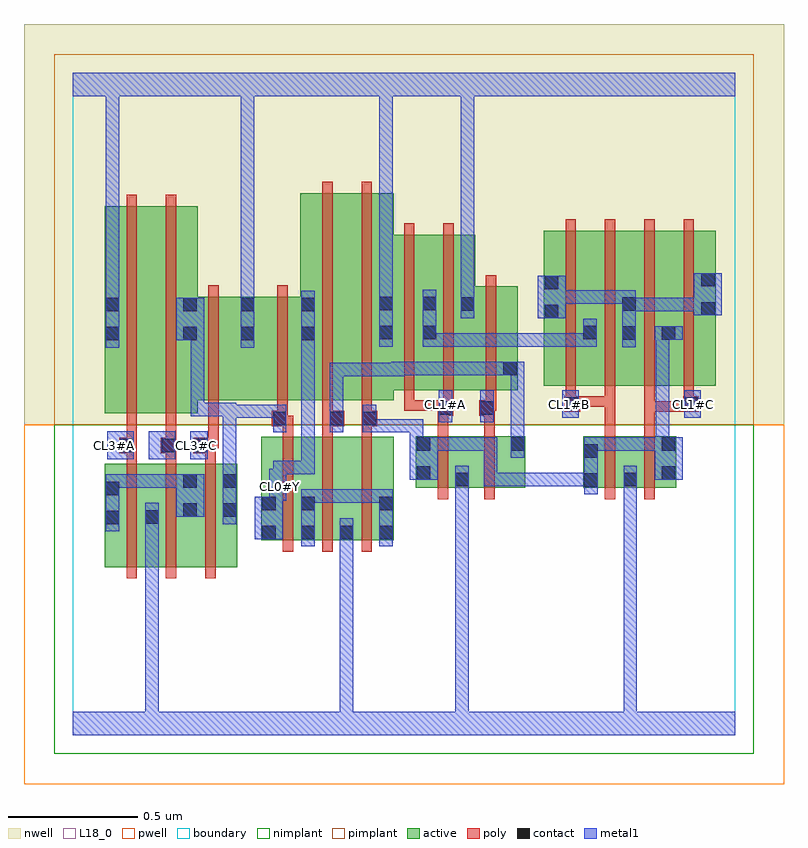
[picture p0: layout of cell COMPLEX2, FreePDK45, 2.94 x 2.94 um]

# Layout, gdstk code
import gdstk
lib = gdstk.Library(unit=1e-6, precision=1e-09)
def R(c, l, rs):  # rectangles x0, y0, x1, y1
    for r in rs: c.add(gdstk.rectangle(r[:2], r[2:], *l))
def A(c, l, x, y, w, h, nx, ny, dx, dy):  # array of equal rectangles
    R(c, l, [(x+i*dx, y+j*dy, x+i*dx+w, y+j*dy+h) for i in range(nx) for j in range(ny)])
active = (1, 0)
pwell = (2, 0)
nwell = (3, 0)
nimplant = (4, 0)
pimplant = (5, 0)
poly = (9, 0)
contact = (10, 0)
metal1 = (11, 0)
L18_0 = (18, 0)
boundary = (235, 0)

complex2 = lib.new_cell('COMPLEX2')
A(complex2, active, 1.968, 1.35, 0.212, 0.6, 3, 1, 0.152, 0)
R(complex2, active, [(0.124,0.65,0.336,1.05), (0.276,0.65,0.484,1.05), (0.424,0.65,0.636,1.05), (0.728,0.754,0.788,1.154), (0.728,0.754,0.94,1.154), (0.88,0.754,1.088,1.154), (0.88,0.754,0.94,1.1), (1.028,0.754,1.24,1.154), (1.028,0.754,1.088,0.828), (1.18,0.754,1.24,1.154), (0.124,0.756,0.184,1.05), (0.276,0.756,0.336,1.05), (0.424,0.756,0.484,1.05), (0.576,0.756,0.636,1.05), (1.326,0.956,1.386,1.156), (1.326,0.956,1.534,1.156), (1.474,0.956,1.748,1.156), (1.474,0.956,1.534,1.018), (1.688,0.956,1.748,1.156), (1.972,0.956,2.032,1.156), (1.972,0.956,2.184,1.156), (2.124,0.956,2.184,1.156), (2.124,0.956,2.332,1.156), (2.272,0.956,2.332,1.156), (0.124,1.244,0.304,2.044), (0.124,1.244,0.184,2.044), (0.304,1.244,0.484,2.044), (0.424,1.294,0.706,1.694), (0.646,1.294,0.94,1.694), (0.88,1.294,1.06,2.094), (1.06,1.294,1.24,2.094), (1.18,1.334,1.408,1.934), (1.18,1.334,1.24,1.9), (1.348,1.334,1.556,1.934), (1.496,1.334,1.72,1.734), (1.66,1.334,1.72,1.644), (1.82,1.35,2.028,1.95), (1.968,1.35,2.028,1.844), (2.12,1.35,2.18,1.95), (2.424,1.35,2.484,1.95), (0.424,1.388,0.484,1.9), (0.88,1.388,0.94,2.094), (1.496,1.388,1.556,1.696), (0.646,1.522,0.706,1.694), (2.272,1.524,2.332,1.844), (1.348,1.526,1.408,1.934), (1.82,1.608,1.88,1.95)])
R(complex2, pwell, [(-0.188,-0.188,2.748,1.2)])
R(complex2, nwell, [(-0.188,1.2,2.748,2.748)])
R(complex2, nimplant, [(-0.072,-0.072,2.632,1.2)])
R(complex2, pimplant, [(-0.072,1.2,2.632,2.632)])
A(complex2, poly, 0.208, 0.606, 0.04, 0.488, 3, 1, 0.152, 0)
A(complex2, poly, 0.812, 0.71, 0.04, 0.488, 3, 1, 0.152, 0)
A(complex2, poly, 0.208, 1.054, 0.04, 0.076, 3, 1, 0.152, 0)
A(complex2, poly, 0.812, 1.158, 0.04, 0.076, 3, 1, 0.152, 0)
A(complex2, poly, 1.904, 1.306, 0.04, 0.688, 4, 1, 0.152, 0)
R(complex2, poly, [(1.41,0.912,1.45,1.2), (1.59,0.912,1.63,1.2), (2.056,0.912,2.096,1.2), (2.208,0.912,2.248,1.2), (0.18,1.09,0.248,1.15), (0.208,1.09,0.248,1.13), (0.208,1.09,0.248,1.13), (0.34,1.09,0.4,1.15), (0.36,1.09,0.4,1.13), (0.36,1.09,0.4,1.13), (0.466,1.09,0.552,1.15), (0.208,1.11,0.248,1.24), (0.36,1.11,0.4,1.24), (0.512,1.11,0.552,1.15), (0.512,1.11,0.564,1.15), (0.524,1.11,0.564,1.29), (1.41,1.16,1.45,1.274), (1.59,1.16,1.63,1.274), (2.056,1.16,2.096,1.31), (2.208,1.16,2.248,1.29), (0.77,1.194,0.83,1.254), (0.79,1.194,0.83,1.234), (0.79,1.194,0.852,1.234), (0.964,1.194,1.004,1.234), (0.964,1.194,1.004,1.234), (0.964,1.194,1.05,1.254), (1.116,1.194,1.176,1.254), (0.208,1.2,0.248,2.088), (0.36,1.2,0.4,2.088), (0.79,1.214,0.83,1.29), (0.964,1.214,1.004,1.29), (1.116,1.214,1.156,1.29), (1.116,1.214,1.156,1.254), (1.116,1.214,1.156,1.254), (1.41,1.234,1.47,1.294), (1.57,1.234,1.63,1.294), (0.524,1.25,0.564,1.738), (0.79,1.25,0.83,1.738), (0.964,1.25,1.004,2.138), (1.116,1.25,1.156,2.138), (1.9,1.25,1.96,1.31), (2.208,1.25,2.248,1.29), (2.208,1.25,2.248,1.29), (2.208,1.25,2.248,1.29), (2.208,1.25,2.398,1.29), (2.208,1.25,2.248,1.346), (2.358,1.25,2.398,1.29), (2.358,1.25,2.398,1.29), (2.358,1.25,2.418,1.31), (1.28,1.254,1.32,1.33), (1.28,1.254,1.32,1.294), (1.28,1.254,1.32,1.294), (1.28,1.254,1.32,1.294), (1.28,1.254,1.47,1.294), (1.43,1.254,1.47,1.294), (1.43,1.254,1.472,1.294), (1.432,1.254,1.472,1.33), (1.59,1.254,1.63,1.294), (1.59,1.254,1.636,1.294), (1.596,1.254,1.636,1.33), (1.904,1.27,1.944,1.346), (1.92,1.27,2.096,1.31), (2.056,1.27,2.096,1.346), (2.056,1.27,2.096,1.31), (2.056,1.27,2.096,1.31), (2.056,1.27,2.096,1.31), (2.056,1.27,2.096,1.31), (2.056,1.27,2.096,1.31), (2.36,1.27,2.4,1.346), (1.28,1.29,1.32,1.978), (1.432,1.29,1.472,1.978), (1.596,1.29,1.636,1.778)])
R(complex2, contact, [(0.732,0.758,0.784,0.81), (0.884,0.758,0.936,0.81), (1.032,0.758,1.084,0.81), (1.184,0.758,1.236,0.81), (0.128,0.816,0.18,0.868), (0.28,0.818,0.332,0.87), (0.428,0.844,0.48,0.896), (0.58,0.844,0.632,0.896), (0.732,0.87,0.784,0.922), (0.884,0.87,0.936,0.922), (1.184,0.87,1.236,0.922), (0.128,0.928,0.18,0.98), (0.428,0.956,0.48,1.008), (0.58,0.956,0.632,1.008), (1.976,0.96,2.028,1.012), (1.478,0.962,1.53,1.014), (2.128,0.962,2.18,1.014), (1.33,0.988,1.382,1.04), (2.276,0.988,2.328,1.04), (1.976,1.072,2.028,1.124), (0.184,1.094,0.236,1.146), (0.344,1.094,0.396,1.146), (0.47,1.094,0.522,1.146), (1.33,1.1,1.382,1.152), (1.692,1.1,1.744,1.152), (2.276,1.1,2.328,1.152), (0.774,1.198,0.826,1.25), (0.994,1.198,1.046,1.25), (1.12,1.198,1.172,1.25), (1.414,1.238,1.466,1.29), (1.574,1.238,1.626,1.29), (1.904,1.254,1.956,1.306), (2.362,1.254,2.414,1.306), (1.664,1.392,1.716,1.444), (0.128,1.526,0.18,1.578), (0.428,1.526,0.48,1.578), (0.65,1.526,0.702,1.578), (0.884,1.526,0.936,1.578), (2.124,1.528,2.176,1.58), (2.276,1.528,2.328,1.58), (1.184,1.53,1.236,1.582), (1.352,1.53,1.404,1.582), (1.972,1.53,2.024,1.582), (1.824,1.612,1.876,1.664), (2.428,1.622,2.48,1.674), (0.128,1.638,0.18,1.69), (0.428,1.638,0.48,1.69), (0.65,1.638,0.702,1.69), (0.884,1.638,0.936,1.69), (1.5,1.64,1.552,1.692), (2.124,1.64,2.176,1.692), (1.184,1.642,1.236,1.694), (1.352,1.642,1.404,1.694), (1.824,1.724,1.876,1.776), (2.428,1.734,2.48,1.786)])
R(complex2, metal1, [(0,0,2.56,0.092), (0.28,0.04,0.332,0.092), (0.28,0.04,0.332,0.092), (0.28,0.04,0.332,0.092), (0.28,0.04,0.332,0.092), (0.28,0.04,0.332,0.092), (0.28,0.04,0.332,0.092), (0.28,0.04,0.332,0.092), (0.28,0.04,0.332,0.092), (0.28,0.04,0.332,0.202), (1.032,0.04,1.084,0.092), (1.032,0.04,1.084,0.092), (1.032,0.04,1.084,0.092), (1.032,0.04,1.084,0.092), (1.032,0.04,1.084,0.092), (1.032,0.04,1.084,0.092), (1.032,0.04,1.084,0.202), (1.478,0.04,1.53,0.092), (1.478,0.04,1.53,0.092), (1.478,0.04,1.53,0.092), (1.478,0.04,1.53,0.092), (1.478,0.04,1.53,0.092), (1.478,0.04,1.53,0.092), (1.478,0.04,1.53,0.092), (1.478,0.04,1.53,0.092), (1.478,0.04,1.53,0.092), (1.478,0.04,1.53,0.092), (1.478,0.04,1.53,0.092), (1.478,0.04,1.53,0.092), (1.478,0.04,1.53,0.092), (1.478,0.04,1.53,0.092), (1.478,0.04,1.53,0.202), (2.128,0.04,2.18,0.092), (2.128,0.04,2.18,0.092), (2.128,0.04,2.18,0.092), (2.128,0.04,2.18,0.092), (2.128,0.04,2.18,0.092), (2.128,0.04,2.18,0.092), (2.128,0.04,2.18,0.092), (2.128,0.04,2.18,0.092), (2.128,0.04,2.18,0.092), (2.128,0.04,2.18,0.092), (2.128,0.04,2.18,0.986), (0.28,0.15,0.332,0.202), (0.28,0.15,0.332,0.202), (0.28,0.15,0.332,0.202), (0.28,0.15,0.332,0.842), (1.032,0.15,1.084,0.202), (1.032,0.15,1.084,0.202), (1.032,0.15,1.084,0.202), (1.032,0.15,1.084,0.782), (1.478,0.15,1.53,0.202), (1.478,0.15,1.53,0.986), (0.884,0.73,0.936,0.95), (1.032,0.73,1.084,0.782), (1.032,0.73,1.084,0.782), (1.032,0.73,1.084,0.838), (1.184,0.73,1.236,0.95), (0.704,0.758,0.812,0.922), (0.128,0.788,0.18,1.008), (0.28,0.79,0.332,0.898), (0.58,0.816,0.632,1.036), (0.4,0.844,0.508,1.008), (0.76,0.87,0.812,0.958), (0.884,0.898,1.046,0.95), (0.994,0.898,1.046,0.95), (0.994,0.898,1.046,0.95), (0.994,0.898,1.046,0.95), (0.994,0.898,1.172,0.95), (1.12,0.898,1.172,0.95), (1.12,0.898,1.236,0.95), (0.76,0.906,0.826,1.03), (1.976,0.932,2.028,1.152), (1.478,0.934,1.53,1.042), (2.128,0.934,2.18,0.986), (2.128,0.934,2.18,0.986), (2.128,0.934,2.18,0.986), (2.128,0.934,2.18,0.986), (2.128,0.934,2.18,0.986), (2.128,0.934,2.18,0.986), (2.128,0.934,2.18,1.042), (0.128,0.956,0.18,1.008), (0.128,0.956,0.18,1.008), (0.128,0.956,0.29,1.008), (0.238,0.956,0.29,1.008), (0.238,0.956,0.29,1.008), (0.238,0.956,0.29,1.008), (0.238,0.956,0.452,1.008), (1.588,0.962,1.64,1.014), (1.588,0.962,1.64,1.014), (1.588,0.962,1.64,1.014), (1.588,0.962,1.914,1.014), (1.588,0.962,1.64,1.152), (1.862,0.962,1.914,1.014), (1.862,0.962,1.914,1.014), (1.862,0.962,1.914,1.014), (1.862,0.962,1.914,1.014), (1.862,0.962,1.914,1.014), (1.862,0.962,2.028,1.014), (0.774,0.978,0.826,1.03), (0.774,0.978,0.826,1.06), (0.58,0.984,0.632,1.278), (1.302,0.988,1.41,1.152), (2.248,0.988,2.356,1.152), (0.774,1.008,0.936,1.06), (0.884,1.008,0.936,1.06), (0.884,1.008,0.936,1.55), (0.134,1.066,0.236,1.174), (0.294,1.066,0.396,1.174), (0.454,1.066,0.522,1.174), (1.692,1.072,1.744,1.18), (1.302,1.1,1.354,1.222), (1.358,1.1,1.41,1.152), (1.358,1.1,1.41,1.152), (1.358,1.1,1.53,1.152), (1.478,1.1,1.53,1.152), (1.478,1.1,1.64,1.152), (1.588,1.1,1.64,1.152), (1.976,1.1,2.19,1.152), (2.138,1.1,2.19,1.152), (2.138,1.1,2.19,1.152), (2.138,1.1,2.19,1.152), (2.138,1.1,2.3,1.152), (2.248,1.1,2.3,1.152), (2.248,1.1,2.3,1.152), (2.252,1.1,2.304,1.58), (1.692,1.128,1.744,1.444), (0.774,1.17,0.826,1.278), (0.994,1.17,1.046,1.278), (1.12,1.17,1.172,1.222), (1.12,1.17,1.172,1.222), (1.12,1.17,1.282,1.222), (1.12,1.17,1.172,1.278), (1.23,1.17,1.282,1.222), (1.23,1.17,1.354,1.222), (1.302,1.17,1.354,1.222), (1.414,1.21,1.466,1.334), (1.574,1.21,1.626,1.334), (0.58,1.226,0.632,1.278), (0.58,1.226,0.632,1.278), (0.58,1.226,0.826,1.278), (0.58,1.226,0.632,1.284), (0.774,1.226,0.826,1.278), (0.774,1.226,0.826,1.278), (0.994,1.226,1.046,1.278), (0.994,1.226,1.046,1.44), (1.892,1.226,1.956,1.334), (2.362,1.226,2.426,1.334), (0.456,1.232,0.508,1.284), (0.456,1.232,0.632,1.284), (0.456,1.232,0.508,1.578), (0.58,1.232,0.632,1.284), (0.58,1.232,0.632,1.284), (0.994,1.388,1.156,1.44), (1.104,1.388,1.156,1.44), (1.104,1.388,1.156,1.44), (1.104,1.388,1.156,1.44), (1.104,1.388,1.282,1.44), (1.23,1.388,1.282,1.444), (1.23,1.392,1.41,1.444), (1.358,1.392,1.41,1.444), (1.358,1.392,1.41,1.444), (1.358,1.392,1.41,1.444), (1.358,1.392,1.52,1.444), (1.468,1.392,1.52,1.444), (1.468,1.392,1.738,1.444), (1.636,1.392,1.744,1.444), (1.686,1.392,1.738,1.444), (1.686,1.392,1.744,1.444), (1.692,1.392,1.744,1.444), (1.692,1.392,1.744,1.444), (1.692,1.392,1.744,1.444), (1.692,1.392,1.744,1.444), (0.128,1.498,0.18,1.718), (0.65,1.498,0.702,1.718), (0.884,1.498,0.936,1.55), (0.884,1.498,0.936,1.55), (0.884,1.498,0.936,1.718), (2.124,1.5,2.176,1.72), (1.184,1.502,1.236,1.722), (1.352,1.502,1.404,1.554), (1.352,1.502,1.404,1.554), (1.352,1.502,1.404,1.722), (1.352,1.502,1.52,1.554), (1.468,1.502,1.52,1.554), (1.468,1.502,1.52,1.554), (1.468,1.502,1.52,1.554), (1.468,1.502,1.738,1.554), (1.686,1.502,1.738,1.554), (1.686,1.502,1.738,1.554), (1.686,1.502,1.738,1.554), (1.686,1.502,1.914,1.554), (1.862,1.502,1.914,1.554), (1.862,1.502,1.914,1.554), (1.862,1.502,1.914,1.554), (1.862,1.502,1.914,1.554), (1.862,1.502,1.914,1.554), (1.862,1.502,2.024,1.554), (1.972,1.502,2.024,1.61), (0.4,1.526,0.508,1.69), (2.248,1.528,2.356,1.58), (2.252,1.528,2.304,1.58), (2.252,1.528,2.304,1.58), (2.252,1.528,2.304,1.58), (2.252,1.528,2.304,1.58), (1.5,1.612,1.552,1.72), (1.796,1.612,1.904,1.776), (2.4,1.622,2.508,1.786), (2.124,1.638,2.304,1.69), (2.252,1.638,2.304,1.69), (2.252,1.638,2.304,1.69), (2.252,1.638,2.304,1.69), (2.252,1.638,2.452,1.69), (2.4,1.638,2.452,1.69), (2.4,1.638,2.452,1.69), (0.128,1.666,0.18,2.52), (0.65,1.666,0.702,1.718), (0.65,1.666,0.702,1.718), (0.65,1.666,0.702,1.718), (0.65,1.666,0.702,1.718), (0.65,1.666,0.702,2.52), (1.5,1.668,1.552,2.52), (1.852,1.668,2.03,1.72), (1.978,1.668,2.03,1.72), (1.978,1.668,2.03,1.72), (1.978,1.668,2.03,1.72), (1.978,1.668,2.176,1.72), (2.124,1.668,2.176,1.72), (2.124,1.668,2.176,1.72), (1.184,1.67,1.236,2.52), (0,2.468,2.56,2.56), (0.128,2.468,0.18,2.52), (0.128,2.468,0.18,2.52), (0.128,2.468,0.18,2.52), (0.128,2.468,0.18,2.52), (0.128,2.468,0.18,2.52), (0.128,2.468,0.18,2.52), (0.128,2.468,0.18,2.52), (0.128,2.468,0.18,2.52), (0.65,2.468,0.702,2.52), (0.65,2.468,0.702,2.52), (0.65,2.468,0.702,2.52), (0.65,2.468,0.702,2.52), (0.65,2.468,0.702,2.52), (0.65,2.468,0.702,2.52), (0.65,2.468,0.702,2.52), (0.65,2.468,0.702,2.52), (0.65,2.468,0.702,2.52), (0.65,2.468,0.702,2.52), (0.65,2.468,0.702,2.52), (0.65,2.468,0.702,2.52), (1.184,2.468,1.236,2.52), (1.184,2.468,1.236,2.52), (1.184,2.468,1.236,2.52), (1.184,2.468,1.236,2.52), (1.184,2.468,1.236,2.52), (1.184,2.468,1.236,2.52), (1.184,2.468,1.236,2.52), (1.184,2.468,1.236,2.52), (1.5,2.468,1.552,2.52), (1.5,2.468,1.552,2.52), (1.5,2.468,1.552,2.52), (1.5,2.468,1.552,2.52), (1.5,2.468,1.552,2.52), (1.5,2.468,1.552,2.52), (1.5,2.468,1.552,2.52), (1.5,2.468,1.552,2.52), (1.5,2.468,1.552,2.52), (1.5,2.468,1.552,2.52), (1.5,2.468,1.552,2.52), (1.5,2.468,1.552,2.52)])
A(complex2, L18_0, 0.134, 1.094, 0.052, 0.052, 3, 1, 0.16, 0)
R(complex2, L18_0, [(0,0,2.56,0.092), (0.28,0.04,0.332,0.092), (0.28,0.04,0.332,0.092), (0.28,0.04,0.332,0.092), (0.28,0.04,0.332,0.092), (0.28,0.04,0.332,0.092), (0.28,0.04,0.332,0.092), (0.28,0.04,0.332,0.092), (0.28,0.04,0.332,0.092), (0.28,0.04,0.332,0.202), (1.032,0.04,1.084,0.092), (1.032,0.04,1.084,0.092), (1.032,0.04,1.084,0.092), (1.032,0.04,1.084,0.092), (1.032,0.04,1.084,0.092), (1.032,0.04,1.084,0.092), (1.032,0.04,1.084,0.202), (1.478,0.04,1.53,0.092), (1.478,0.04,1.53,0.092), (1.478,0.04,1.53,0.092), (1.478,0.04,1.53,0.092), (1.478,0.04,1.53,0.092), (1.478,0.04,1.53,0.092), (1.478,0.04,1.53,0.092), (1.478,0.04,1.53,0.092), (1.478,0.04,1.53,0.092), (1.478,0.04,1.53,0.092), (1.478,0.04,1.53,0.092), (1.478,0.04,1.53,0.092), (1.478,0.04,1.53,0.092), (1.478,0.04,1.53,0.092), (1.478,0.04,1.53,0.202), (2.128,0.04,2.18,0.092), (2.128,0.04,2.18,0.092), (2.128,0.04,2.18,0.092), (2.128,0.04,2.18,0.092), (2.128,0.04,2.18,0.092), (2.128,0.04,2.18,0.092), (2.128,0.04,2.18,0.092), (2.128,0.04,2.18,0.092), (2.128,0.04,2.18,0.092), (2.128,0.04,2.18,0.092), (2.128,0.04,2.18,0.986), (0.28,0.15,0.332,0.202), (0.28,0.15,0.332,0.202), (0.28,0.15,0.332,0.202), (0.28,0.15,0.332,0.842), (1.032,0.15,1.084,0.202), (1.032,0.15,1.084,0.202), (1.032,0.15,1.084,0.202), (1.032,0.15,1.084,0.782), (1.478,0.15,1.53,0.202), (1.478,0.15,1.53,0.986), (1.032,0.73,1.084,0.782), (1.032,0.73,1.084,0.782), (1.032,0.73,1.084,0.838), (0.704,0.758,0.812,0.922), (0.28,0.79,0.332,0.898), (0.76,0.87,0.812,0.958), (0.76,0.906,0.826,1.03), (0.774,0.934,0.826,0.986), (1.478,0.934,1.53,1.042), (2.128,0.934,2.18,0.986), (2.128,0.934,2.18,0.986), (2.128,0.934,2.18,0.986), (2.128,0.934,2.18,0.986), (2.128,0.934,2.18,0.986), (2.128,0.934,2.18,0.986), (2.128,0.934,2.18,1.042), (0.774,0.978,0.826,1.03), (0.774,0.978,0.826,1.06), (0.774,1.008,0.936,1.06), (0.884,1.008,0.936,1.06), (0.884,1.008,0.936,1.55), (0.134,1.066,0.236,1.174), (0.294,1.066,0.396,1.174), (0.454,1.066,0.522,1.174), (1.414,1.21,1.466,1.334), (1.574,1.21,1.626,1.334), (1.892,1.226,1.956,1.334), (2.362,1.226,2.426,1.334), (1.414,1.254,1.466,1.306), (1.574,1.254,1.626,1.306), (1.894,1.254,1.946,1.306), (2.374,1.254,2.426,1.306), (0.128,1.498,0.18,1.718), (0.65,1.498,0.702,1.718), (0.884,1.498,0.936,1.718), (0.884,1.498,0.936,1.55), (0.884,1.498,0.936,1.55), (1.184,1.502,1.236,1.722), (1.5,1.612,1.552,1.72), (0.128,1.666,0.18,2.52), (0.65,1.666,0.702,1.718), (0.65,1.666,0.702,1.718), (0.65,1.666,0.702,1.718), (0.65,1.666,0.702,1.718), (0.65,1.666,0.702,2.52), (1.5,1.668,1.552,2.52), (1.184,1.67,1.236,2.52), (0,2.468,2.56,2.56), (0.128,2.468,0.18,2.52), (0.128,2.468,0.18,2.52), (0.128,2.468,0.18,2.52), (0.128,2.468,0.18,2.52), (0.128,2.468,0.18,2.52), (0.128,2.468,0.18,2.52), (0.128,2.468,0.18,2.52), (0.128,2.468,0.18,2.52), (0.65,2.468,0.702,2.52), (0.65,2.468,0.702,2.52), (0.65,2.468,0.702,2.52), (0.65,2.468,0.702,2.52), (0.65,2.468,0.702,2.52), (0.65,2.468,0.702,2.52), (0.65,2.468,0.702,2.52), (0.65,2.468,0.702,2.52), (0.65,2.468,0.702,2.52), (0.65,2.468,0.702,2.52), (0.65,2.468,0.702,2.52), (0.65,2.468,0.702,2.52), (1.184,2.468,1.236,2.52), (1.184,2.468,1.236,2.52), (1.184,2.468,1.236,2.52), (1.184,2.468,1.236,2.52), (1.184,2.468,1.236,2.52), (1.184,2.468,1.236,2.52), (1.184,2.468,1.236,2.52), (1.184,2.468,1.236,2.52), (1.5,2.468,1.552,2.52), (1.5,2.468,1.552,2.52), (1.5,2.468,1.552,2.52), (1.5,2.468,1.552,2.52), (1.5,2.468,1.552,2.52), (1.5,2.468,1.552,2.52), (1.5,2.468,1.552,2.52), (1.5,2.468,1.552,2.52), (1.5,2.468,1.552,2.52), (1.5,2.468,1.552,2.52), (1.5,2.468,1.552,2.52), (1.5,2.468,1.552,2.52)])
R(complex2, boundary, [(0,0,2.56,2.56)])
complex2.add(gdstk.Label('CL0#Y', (0.8,0.96), layer=11, texttype=0))
complex2.add(gdstk.Label('CL1#A', (1.44,1.28), layer=11, texttype=0))
complex2.add(gdstk.Label('CL1#B', (1.92,1.28), layer=11, texttype=0))
complex2.add(gdstk.Label('CL1#C', (2.4,1.28), layer=11, texttype=0))
complex2.add(gdstk.Label('CL2#A', (1.6,1.28), layer=11, texttype=0))
complex2.add(gdstk.Label('CL3#A', (0.16,1.12), layer=11, texttype=0))
complex2.add(gdstk.Label('CL3#B', (0.32,1.12), layer=11, texttype=0))
complex2.add(gdstk.Label('CL3#C', (0.48,1.12), layer=11, texttype=0))

lib.write_gds('COMPLEX2.gds')
